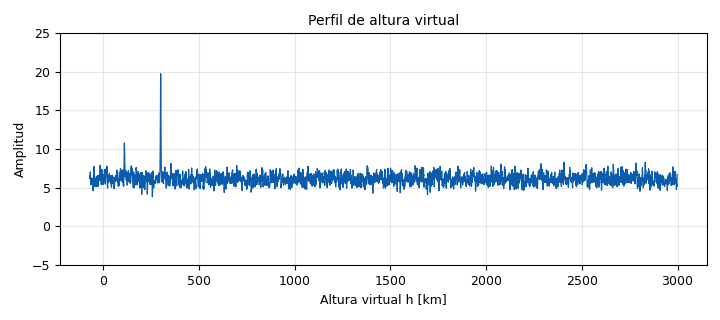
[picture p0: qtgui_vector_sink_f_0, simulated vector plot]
options:
  parameters:
    author: Juanjo
    description: 'Receptor de sondador ionosferico: Golay 16 bits + QCC (Red Pitaya SDRlab 122-16)'
    generate_options: qt_gui
    id: ionosonde_rx_sim
    output_language: python
    title: Sondador ionosferico - Receptor Golay/QCC (SIMULACION)
  states: {}

blocks:
- name: K
  id: variable
  parameters:
    comment: Parejas A/B integradas
    value: '25'
  states: {}
- name: c
  id: variable
  parameters:
    value: '299792458.0'
  states: {}
- name: code_A
  id: variable
  parameters:
    value: '[1, 1, 1, -1, 1, 1, -1, 1, 1, 1, 1, -1, -1, -1, 1, -1]'
  states: {}
- name: code_B
  id: variable
  parameters:
    value: '[1, 1, 1, -1, 1, 1, -1, 1, -1, -1, -1, 1, 1, 1, -1, 1]'
  states: {}
- name: dh_km
  id: variable
  parameters:
    comment: Altura por muestra = 0.75 km (h' = c t / 2)
    value: c / (2.0 * samp_rate) / 1000.0
  states: {}
- name: h_E
  id: variable
  parameters:
    comment: Altura virtual eco capa E [km]
    value: '110'
  states: {}
- name: h_F
  id: variable
  parameters:
    comment: Altura virtual eco capa F [km]
    value: '300'
  states: {}
- name: n_vec
  id: variable
  parameters:
    comment: |-
      Muestras por PRT = 3333.
      200000/60 = 3333.33 -> deriva 1/3 muestra por disparo.
    value: '4096'
  states: {}
- name: noise_amp
  id: variable
  parameters:
    comment: Desvio del ruido (por muestra)
    value: '0.5'
  states: {}
- name: prf
  id: variable
  parameters:
    comment: Frecuencia de repeticion de pulso [Hz]
    value: samp_rate / 4096
  states: {}
- name: samp_rate
  id: variable
  parameters:
    comment: Frecuencia de muestreo en banda base (DDC en la FPGA)
    value: '200000'
  states: {}
- name: sim_sig
  id: variable
  parameters:
    comment: Dos disparos (A y B) con ecos E y F, repetidos indefinidamente
    value: np.concatenate([np.roll(np.pad(np.repeat(cd, spb), (0, n_vec - 16 * spb)).astype(complex), int(round(h_E / dh_km))) * 0.05 + np.roll(np.pad(np.repeat(cd, spb), (0, n_vec - 16 * spb)).astype(complex), int(round(h_F / dh_km))) * 0.1 * np.exp(1j * 0.7) for cd in (code_A, code_B)]).astype(np.complex64)
  states: {}
- name: spb
  id: variable
  parameters:
    comment: Muestras por chip (30 us x 200 kS/s)
    value: '6'
  states: {}
- name: swap_ab
  id: variable_qtgui_check_box
  parameters:
    comment: |-
      Marcar si la rama A esta recibiendo los disparos B
      (el demux arranca en la fase equivocada).
    'false': '0'
    gui_hint: 0,0,1,1
    label: '''Intercambiar A/B'''
    'true': '1'
    type: int
    value: '0'
  states: {}
- name: taps_A
  id: variable
  parameters:
    comment: 'Filtro adaptado A: codigo invertido y sobremuestreado x6'
    value: np.repeat(code_B if swap_ab else code_A, spb)[::-1].astype(complex).tolist()
  states: {}
- name: taps_B
  id: variable
  parameters:
    comment: Filtro adaptado B
    value: np.repeat(code_A if swap_ab else code_B, spb)[::-1].astype(complex).tolist()
  states: {}
- name: analog_noise_source_x_0
  id: analog_noise_source_x
  parameters:
    amp: noise_amp
    noise_type: analog.GR_GAUSSIAN
    seed: '0'
    type: complex
  states: {}
- name: analog_sig_source_x_0
  id: analog_sig_source_x
  parameters:
    amp: '1'
    freq: '1000'
    offset: '0'
    phase: '0'
    samp_rate: samp_rate
    type: complex
    waveform: analog.GR_CONST_WAVE
  states: {state: disabled}
- name: blocks_add_xx_0
  id: blocks_add_xx
  parameters:
    comment: 'Suma complementaria QCC: A + B'
    type: complex
    vlen: n_vec
  states: {}
- name: blocks_add_xx_sim
  id: blocks_add_xx
  parameters:
    type: complex
  states: {}
- name: blocks_complex_to_mag_0
  id: blocks_complex_to_mag
  parameters:
    comment: Envolvente |Z|
    vlen: n_vec
  states: {}
- name: blocks_deinterleave_0
  id: blocks_deinterleave
  parameters:
    blocksize: n_vec
    comment: |-
      Segmentacion por PRT + selector Golay:
      bloque par -> A, bloque impar -> B
    maxoutbuf: n_vec * 2
    type: complex
  states: {}
- name: blocks_integrate_xx_0
  id: blocks_integrate_xx
  parameters:
    comment: Suma de K perfiles
    decim: K
    type: float
    vlen: n_vec
  states: {}
- name: blocks_multiply_const_vxx_0
  id: blocks_multiply_const_vxx
  parameters:
    comment: Promedio (/K)
    const: '[1.0 / K] * n_vec'
    type: float
    vlen: n_vec
  states: {}
- name: blocks_stream_to_vector_A
  id: blocks_stream_to_vector
  parameters:
    num_items: n_vec
    type: complex
  states: {}
- name: blocks_stream_to_vector_B
  id: blocks_stream_to_vector
  parameters:
    num_items: n_vec
    type: complex
  states: {}
- name: blocks_throttle_0
  id: blocks_throttle2
  parameters:
    samples_per_second: samp_rate
    type: complex
  states: {}
- name: blocks_vector_source_x_0
  id: blocks_vector_source_x
  parameters:
    maxoutbuf: n_vec * 2
    repeat: 'True'
    type: complex
    vector: sim_sig
  states: {}
- name: filter_fir_filter_A
  id: fir_filter_xxx
  parameters:
    comment: Correlador A
    decim: '1'
    taps: taps_A
    type: ccc
  states: {}
- name: filter_fir_filter_B
  id: fir_filter_xxx
  parameters:
    comment: Correlador B
    decim: '1'
    taps: taps_B
    type: ccc
  states: {}
- name: import_0
  id: import
  parameters:
    imports: import numpy as np
  states: {}
- name: qtgui_vector_sink_f_0
  id: qtgui_vector_sink_f
  parameters:
    grid: 'True'
    gui_hint: 1,0,1,2
    name: '''Perfil de altura virtual'''
    vlen: n_vec
    x_axis_label: '''Altura virtual h [km]'''
    x_start: '-(16 * spb - 1) * dh_km'
    x_step: dh_km
    x_units: '''km'''
    y_axis_label: '''Amplitud'''
    y_units: ''''''
    ymax: '25'
    ymin: '-5'
  states: {}

connections:
- [analog_noise_source_x_0, '0', blocks_add_xx_sim, '1']
- [analog_sig_source_x_0, '0', blocks_add_xx_sim, '0']
- [blocks_add_xx_0, '0', blocks_complex_to_mag_0, '0']
- [blocks_add_xx_sim, '0', blocks_throttle_0, '0']
- [blocks_complex_to_mag_0, '0', blocks_integrate_xx_0, '0']
- [blocks_deinterleave_0, '0', filter_fir_filter_A, '0']
- [blocks_deinterleave_0, '1', filter_fir_filter_B, '0']
- [blocks_integrate_xx_0, '0', blocks_multiply_const_vxx_0, '0']
- [blocks_multiply_const_vxx_0, '0', qtgui_vector_sink_f_0, '0']
- [blocks_stream_to_vector_A, '0', blocks_add_xx_0, '0']
- [blocks_stream_to_vector_B, '0', blocks_add_xx_0, '1']
- [blocks_throttle_0, '0', blocks_deinterleave_0, '0']
- [blocks_vector_source_x_0, '0', blocks_add_xx_sim, '0']
- [filter_fir_filter_A, '0', blocks_stream_to_vector_A, '0']
- [filter_fir_filter_B, '0', blocks_stream_to_vector_B, '0']

metadata:
  file_format: 1
  grc_version: 3.10.12.0
